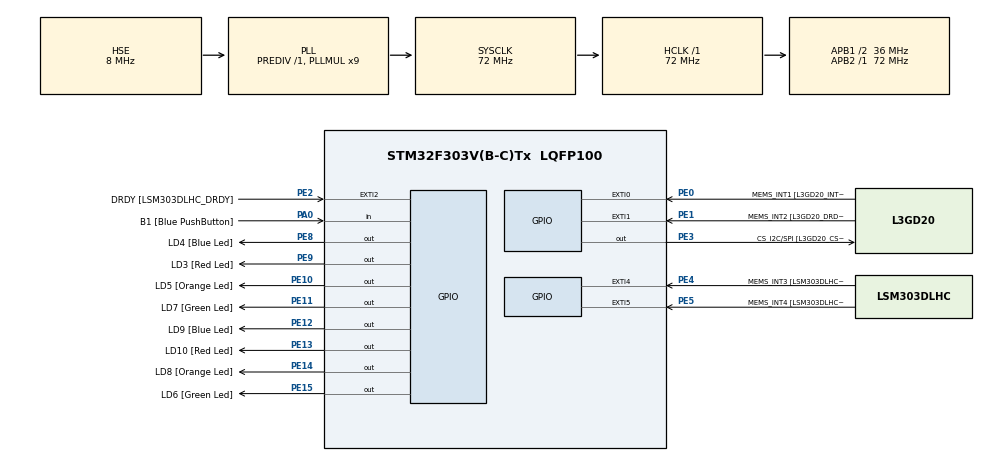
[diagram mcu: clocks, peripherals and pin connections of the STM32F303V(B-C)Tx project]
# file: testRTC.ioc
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Mcu.Family=STM32F3
Mcu.Name=STM32F303V(B-C)Tx
Mcu.Package=LQFP100
NVIC.PriorityGroup=NVIC_PRIORITYGROUP_0
PA0.GPIO_Label=B1 [Blue PushButton]
PA0.GPIO_Mode=GPIO_MODE_INPUT
PA0.GPIO_PuPd=GPIO_NOPULL
PA0.Signal=GPIO_Input
PA11.GPIO_Label=DM
PA11.Signal=USB_DM
PA12.GPIO_Label=DP
PA12.Signal=USB_DP
PA13.GPIO_Label=SWDIO
PA13.Signal=SYS_JTMS-SWDIO
PA14.GPIO_Label=SWCLK
PA14.Signal=SYS_JTCK-SWCLK
PA5.GPIO_Label=SPI1_SCK [L3GD20_SCL/SPC]
PA5.GPIO_Mode=GPIO_MODE_AF_PP
PA5.GPIO_PuPd=GPIO_NOPULL
PA5.GPIO_Speed=GPIO_SPEED_FREQ_LOW
PA5.Signal=SPI1_SCK
PA6.GPIO_Label=SPI1_MISO [L3GD20_SA0/SDO]
PA6.GPIO_Mode=GPIO_MODE_AF_PP
PA6.GPIO_PuPd=GPIO_NOPULL
PA6.GPIO_Speed=GPIO_SPEED_FREQ_LOW
PA6.Signal=SPI1_MISO
PA7.GPIO_Label=SPI1_MISO [L3GD20_SDA/SDI/SDO]
PA7.GPIO_Mode=GPIO_MODE_AF_PP
PA7.GPIO_PuPd=GPIO_NOPULL
PA7.GPIO_Speed=GPIO_SPEED_FREQ_LOW
PA7.Signal=SPI1_MOSI
PB3.GPIO_Label=SWO
PB3.Signal=SYS_JTDO-TRACESWO
PB6.GPIO_FM6=__NULL
PB6.GPIO_Label=I2C1_SCL [LSM303DLHC_SCL]
PB6.GPIO_Mode=GPIO_MODE_AF_OD
PB6.GPIO_PuPd=GPIO_NOPULL
PB6.GPIO_Speed=GPIO_SPEED_FREQ_LOW
PB6.Signal=I2C1_SCL
PB7.GPIO_FM7=__NULL
PB7.GPIO_Label=I2C1_SDA [LSM303DLHC_SDA]
PB7.GPIO_Mode=GPIO_MODE_AF_OD
PB7.GPIO_PuPd=GPIO_NOPULL
PB7.GPIO_Speed=GPIO_SPEED_FREQ_LOW
PB7.Signal=I2C1_SDA
PC14-OSC32_IN.GPIO_Label=OSC32_IN
PC14-OSC32_IN.Signal=RCC_OSC32_IN
PC15-OSC32_OUT.GPIO_Label=OSC32_OUT
PC15-OSC32_OUT.Signal=RCC_OSC32_OUT
PE0.GPIO_Label=MEMS_INT1 [L3GD20_INT1]
PE0.GPIO_ModeDefaultEXTI=GPIO_MODE_EVT_RISING
PE0.GPIO_PuPd=GPIO_NOPULL
PE0.Signal=GPXTI0
PE1.GPIO_Label=MEMS_INT2 [L3GD20_DRDY/INT2]
PE1.GPIO_ModeDefaultEXTI=GPIO_MODE_EVT_RISING
PE1.GPIO_PuPd=GPIO_NOPULL
PE1.Signal=GPXTI1
PE10.GPIO_Label=LD5 [Orange Led]
PE10.GPIO_ModeDefaultOutputPP=GPIO_MODE_OUTPUT_PP
PE10.GPIO_PuPd=GPIO_NOPULL
PE10.GPIO_Speed=GPIO_SPEED_FREQ_LOW
PE10.Signal=GPIO_Output
PE11.GPIO_Label=LD7 [Green Led]
PE11.GPIO_ModeDefaultOutputPP=GPIO_MODE_OUTPUT_PP
PE11.GPIO_PuPd=GPIO_NOPULL
PE11.GPIO_Speed=GPIO_SPEED_FREQ_LOW
PE11.Signal=GPIO_Output
PE12.GPIO_Label=LD9 [Blue Led]
PE12.GPIO_ModeDefaultOutputPP=GPIO_MODE_OUTPUT_PP
PE12.GPIO_PuPd=GPIO_NOPULL
PE12.GPIO_Speed=GPIO_SPEED_FREQ_LOW
PE12.Signal=GPIO_Output
PE13.GPIO_Label=LD10 [Red Led]
PE13.GPIO_ModeDefaultOutputPP=GPIO_MODE_OUTPUT_PP
PE13.GPIO_PuPd=GPIO_NOPULL
PE13.GPIO_Speed=GPIO_SPEED_FREQ_LOW
PE13.Signal=GPIO_Output
PE14.GPIO_Label=LD8 [Orange Led]
PE14.GPIO_ModeDefaultOutputPP=GPIO_MODE_OUTPUT_PP
PE14.GPIO_PuPd=GPIO_NOPULL
PE14.GPIO_Speed=GPIO_SPEED_FREQ_LOW
PE14.Signal=GPIO_Output
PE15.GPIO_Label=LD6 [Green Led]
PE15.GPIO_ModeDefaultOutputPP=GPIO_MODE_OUTPUT_PP
PE15.GPIO_PuPd=GPIO_NOPULL
PE15.GPIO_Speed=GPIO_SPEED_FREQ_LOW
PE15.Signal=GPIO_Output
PE2.GPIO_Label=DRDY [LSM303DLHC_DRDY]
PE2.GPIO_ModeDefaultEXTI=GPIO_MODE_EVT_RISING
PE2.GPIO_PuPd=GPIO_NOPULL
PE2.Signal=GPXTI2
PE3.GPIO_Label=CS_I2C/SPI [L3GD20_CS_I2C/SPI]
PE3.GPIO_ModeDefaultOutputPP=GPIO_MODE_OUTPUT_PP
PE3.GPIO_PuPd=GPIO_NOPULL
PE3.GPIO_Speed=GPIO_SPEED_FREQ_LOW
PE3.Signal=GPIO_Output
PE4.GPIO_Label=MEMS_INT3 [LSM303DLHC_INT1]
PE4.GPIO_ModeDefaultEXTI=GPIO_MODE_EVT_RISING
PE4.GPIO_PuPd=GPIO_NOPULL
PE4.Signal=GPXTI4
PE5.GPIO_Label=MEMS_INT4 [LSM303DLHC_INT2]
PE5.GPIO_ModeDefaultEXTI=GPIO_MODE_EVT_RISING
PE5.GPIO_PuPd=GPIO_NOPULL
PE5.Signal=GPXTI5
PE8.GPIO_Label=LD4 [Blue Led]
PE8.GPIO_ModeDefaultOutputPP=GPIO_MODE_OUTPUT_PP
PE8.GPIO_PuPd=GPIO_NOPULL
PE8.GPIO_Speed=GPIO_SPEED_FREQ_LOW
PE8.Signal=GPIO_Output
PE9.GPIO_Label=LD3 [Red Led]
PE9.GPIO_ModeDefaultOutputPP=GPIO_MODE_OUTPUT_PP
PE9.GPIO_PuPd=GPIO_NOPULL
PE9.GPIO_Speed=GPIO_SPEED_FREQ_LOW
PE9.Signal=GPIO_Output
PF0-OSC_IN.GPIO_Label=OSC_IN
PF0-OSC_IN.Mode=HSE-External-Oscillator
PF0-OSC_IN.Signal=RCC_OSC_IN
PF1-OSC_OUT.GPIO_Label=OSC_OUT
PF1-OSC_OUT.Mode=HSE-External-Oscillator
PF1-OSC_OUT.Signal=RCC_OSC_OUT
ProjectManager.HeapSize=0x200
ProjectManager.StackSize=0x400
ProjectManager.TargetToolchain=EWARM
RCC.AHBFreq_Value=72000000
RCC.APB1CLKDivider=RCC_HCLK_DIV2
RCC.APB1Freq_Value=36000000
RCC.APB1TimFreq_Value=72000000
RCC.APB2Freq_Value=72000000
RCC.APB2TimFreq_Value=72000000
RCC.CortexFreq_Value=72000000
RCC.HCLKFreq_Value=72000000
RCC.HSE_VALUE=8000000
RCC.HSIState=RCC_HSI_ON
RCC.HSI_VALUE=8000000
RCC.LSE_VALUE=32768
RCC.PLLMUL=RCC_PLL_MUL9
RCC.PLLSourceVirtual=RCC_PLLSOURCE_HSE
RCC.SYSCLKFreq_VALUE=72000000
RCC.SYSCLKSourceVirtual=RCC_SYSCLKSOURCE_PLLCLK
RCC.USBFreq_Value=72000000
VP_RTC_VS_RTC_Activate.Mode=RTC_Enabled
VP_RTC_VS_RTC_Calendar.Mode=RTC_Calendar
board=STM32F3DISCOVERY

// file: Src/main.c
/**
  ******************************************************************************
  * File Name          : main.c
  * Description        : Main program body
  ******************************************************************************
  *
  * COPYRIGHT(c) 2017 STMicroelectronics
  *
  * Redistribution and use in source and binary forms, with or without modification,
  * are permitted provided that the following conditions are met:
  *   1. Redistributions of source code must retain the above copyright notice,
  *      this list of conditions and the following disclaimer.
  *   2. Redistributions in binary form must reproduce the above copyright notice,
  *      this list of conditions and the following disclaimer in the documentation
  *      and/or other materials provided with the distribution.
  *   3. Neither the name of STMicroelectronics nor the names of its contributors
  *      may be used to endorse or promote products derived from this software
  *      without specific prior written permission.
  *
  * THIS SOFTWARE IS PROVIDED BY THE COPYRIGHT HOLDERS AND CONTRIBUTORS "AS IS"
  * AND ANY EXPRESS OR IMPLIED WARRANTIES, INCLUDING, BUT NOT LIMITED TO, THE
  * IMPLIED WARRANTIES OF MERCHANTABILITY AND FITNESS FOR A PARTICULAR PURPOSE ARE
  * DISCLAIMED. IN NO EVENT SHALL THE COPYRIGHT HOLDER OR CONTRIBUTORS BE LIABLE
  * FOR ANY DIRECT, INDIRECT, INCIDENTAL, SPECIAL, EXEMPLARY, OR CONSEQUENTIAL
  * DAMAGES (INCLUDING, BUT NOT LIMITED TO, PROCUREMENT OF SUBSTITUTE GOODS OR
  * SERVICES; LOSS OF USE, DATA, OR PROFITS; OR BUSINESS INTERRUPTION) HOWEVER
  * CAUSED AND ON ANY THEORY OF LIABILITY, WHETHER IN CONTRACT, STRICT LIABILITY,
  * OR TORT (INCLUDING NEGLIGENCE OR OTHERWISE) ARISING IN ANY WAY OUT OF THE USE
  * OF THIS SOFTWARE, EVEN IF ADVISED OF THE POSSIBILITY OF SUCH DAMAGE.
  *
  ******************************************************************************
  */
#include "main.h"
#include "stm32f3xx_hal.h"
#include "rtc.h"
#include "gpio.h"
#include "stm32f3_discovery.h"

/* USER CODE BEGIN Includes */
RTC_HandleTypeDef RtcHandle;

/* Buffers used for displaying Time and Date */
uint8_t aShowTime[50] = {0};
uint8_t aShowDate[50] = {0};
/* USER CODE END Includes */

/* USER CODE BEGIN PV */
/* Private variables ---------------------------------------------------------*/

/* USER CODE END PV */

void SystemClock_Config(void);
void Error_Handler(void);

/* USER CODE BEGIN PFP */
/* Private function prototypes -----------------------------------------------*/

/* USER CODE END PFP */

/* USER CODE BEGIN 0 */
static void RTC_CalendarConfig(void)
{
  RTC_DateTypeDef sdatestructure;
  RTC_TimeTypeDef stimestructure;

  /*##-1- Configure the Date #################################################*/
  /* Set Date: Tuesday February 18th 2014 */
  sdatestructure.Year = 0x14;
  sdatestructure.Month = RTC_MONTH_FEBRUARY;
  sdatestructure.Date = 0x18;
  sdatestructure.WeekDay = RTC_WEEKDAY_TUESDAY;

  if(HAL_RTC_SetDate(&RtcHandle,&sdatestructure,RTC_FORMAT_BCD) != HAL_OK)
  {
    /* Initialization Error */
    Error_Handler();
  }

  /*##-2- Configure the Time #################################################*/
  /* Set Time: 02:00:00 */
  stimestructure.Hours = 0x02;
  stimestructure.Minutes = 0x00;
  stimestructure.Seconds = 0x00;
  stimestructure.TimeFormat = RTC_HOURFORMAT12_AM;
  stimestructure.DayLightSaving = RTC_DAYLIGHTSAVING_NONE ;
  stimestructure.StoreOperation = RTC_STOREOPERATION_RESET;

  if (HAL_RTC_SetTime(&RtcHandle, &stimestructure, RTC_FORMAT_BCD) != HAL_OK)
  {
    /* Initialization Error */
    Error_Handler();
  }

  /*##-3- Writes a data in a RTC Backup data Register1 #######################*/
  HAL_RTCEx_BKUPWrite(&RtcHandle, RTC_BKP_DR1, 0x32F2);
}

/**
  * @brief  Display the current time and date.
  * @param  showtime : pointer to buffer
  * @param  showdate : pointer to buffer
  * @retval None
  */
static void RTC_CalendarShow(uint8_t *showtime, uint8_t *showdate)
{
  RTC_DateTypeDef sdatestructureget;
  RTC_TimeTypeDef stimestructureget;

  /* Get the RTC current Time */
  HAL_RTC_GetTime(&RtcHandle, &stimestructureget, RTC_FORMAT_BIN);
  /* Get the RTC current Date */
  HAL_RTC_GetDate(&RtcHandle, &sdatestructureget, RTC_FORMAT_BIN);
  /* Display time Format : hh:mm:ss */
  sprintf((char *)showtime, "%2d:%2d:%2d", stimestructureget.Hours, stimestructureget.Minutes, stimestructureget.Seconds);
  /* Display date Format : mm-dd-yy */
  sprintf((char *)showdate, "%2d-%2d-%2d", sdatestructureget.Month, sdatestructureget.Date, 2000 + sdatestructureget.Year);
   printf("Time: %2d:%2d:%2d\n", stimestructureget.Hours, stimestructureget.Minutes, stimestructureget.Seconds);
   printf("Date: %2d-%2d-%2d\n\n",  sdatestructureget.Date,sdatestructureget.Month, 2000 + sdatestructureget.Year);

}
/* USER CODE END 0 */

int main(void)
{

  /* MCU Configuration----------------------------------------------------------*/

  /* Reset of all peripherals, Initializes the Flash interface and the Systick. */
  HAL_Init();

  /* Configure the system clock */
  SystemClock_Config();

  /* Initialize all configured peripherals */
  MX_GPIO_Init();
  MX_RTC_Init();

  /* USER CODE BEGIN 2 */
 BSP_LED_Init(LED6);
  BSP_LED_Init(LED4);
  BSP_LED_Init(LED3);
  BSP_LED_Init(LED5);
  /* USER CODE END 2 */
  /*##-1- Configure the RTC peripheral #######################################*/
  /* Configure RTC prescaler and RTC data registers */
  /* RTC configured as follows:
      - Hour Format    = Format 24
      - Asynch Prediv  = Value according to source clock
      - Synch Prediv   = Value according to source clock
      - OutPut         = Output Disable
      - OutPutPolarity = High Polarity
      - OutPutType     = Open Drain */
  RtcHandle.Instance = RTC;
  RtcHandle.Init.HourFormat = RTC_HOURFORMAT_24;
 // RtcHandle.Init.AsynchPrediv = RTC_ASYNCH_PREDIV;
  //RtcHandle.Init.SynchPrediv = RTC_SYNCH_PREDIV;
  RtcHandle.Init.OutPut = RTC_OUTPUT_DISABLE;
  RtcHandle.Init.OutPutPolarity = RTC_OUTPUT_POLARITY_HIGH;
  RtcHandle.Init.OutPutType = RTC_OUTPUT_TYPE_OPENDRAIN;

  if (HAL_RTC_Init(&RtcHandle) != HAL_OK)
  {
    /* Initialization Error */
    Error_Handler();
  }

  /* Turn on LED6 */
  BSP_LED_On(LED6);

  /*##-2- Check if Data stored in BackUp register1: No Need to reconfigure RTC#*/
  /* Read the Back Up Register 1 Data */
  if (HAL_RTCEx_BKUPRead(&RtcHandle, RTC_BKP_DR1) != 0x32F2)
  {
    /* Configure RTC Calendar */
    RTC_CalendarConfig();
  }
  else
  {
    /* Check if the Power On Reset flag is set */
    if (__HAL_RCC_GET_FLAG(RCC_FLAG_PORRST) != RESET)
    {
      /* Turn on LED4: Power on reset occurred */
      BSP_LED_On(LED4);
    }
    /* Check if Pin Reset flag is set */
    if (__HAL_RCC_GET_FLAG(RCC_FLAG_PINRST) != RESET)
    {
      /* Turn on LED5: External reset occurred */
      BSP_LED_On(LED5);
    }
    /* Clear source Reset Flag */
    __HAL_RCC_CLEAR_RESET_FLAGS();
  }

  /* Infinite loop */
  while (1)
  {
      RTC_CalendarShow(aShowTime, aShowDate);

  }

}

/** System Clock Configuration
*/
void SystemClock_Config(void)
{

  RCC_OscInitTypeDef RCC_OscInitStruct;
  RCC_ClkInitTypeDef RCC_ClkInitStruct;
  RCC_PeriphCLKInitTypeDef PeriphClkInit;

    /**Initializes the CPU, AHB and APB busses clocks
    */
  RCC_OscInitStruct.OscillatorType = RCC_OSCILLATORTYPE_LSI|RCC_OSCILLATORTYPE_HSE;
  RCC_OscInitStruct.HSEState = RCC_HSE_ON;
  RCC_OscInitStruct.HSEPredivValue = RCC_HSE_PREDIV_DIV1;
  RCC_OscInitStruct.HSIState = RCC_HSI_ON;
  RCC_OscInitStruct.LSIState = RCC_LSI_ON;
  RCC_OscInitStruct.PLL.PLLState = RCC_PLL_ON;
  RCC_OscInitStruct.PLL.PLLSource = RCC_PLLSOURCE_HSE;
  RCC_OscInitStruct.PLL.PLLMUL = RCC_PLL_MUL9;
  if (HAL_RCC_OscConfig(&RCC_OscInitStruct) != HAL_OK)
  {
    Error_Handler();
  }

    /**Initializes the CPU, AHB and APB busses clocks
    */
  RCC_ClkInitStruct.ClockType = RCC_CLOCKTYPE_HCLK|RCC_CLOCKTYPE_SYSCLK
                              |RCC_CLOCKTYPE_PCLK1|RCC_CLOCKTYPE_PCLK2;
  RCC_ClkInitStruct.SYSCLKSource = RCC_SYSCLKSOURCE_PLLCLK;
  RCC_ClkInitStruct.AHBCLKDivider = RCC_SYSCLK_DIV1;
  RCC_ClkInitStruct.APB1CLKDivider = RCC_HCLK_DIV2;
  RCC_ClkInitStruct.APB2CLKDivider = RCC_HCLK_DIV1;

  if (HAL_RCC_ClockConfig(&RCC_ClkInitStruct, FLASH_LATENCY_2) != HAL_OK)
  {
    Error_Handler();
  }

  PeriphClkInit.PeriphClockSelection = RCC_PERIPHCLK_RTC;
  PeriphClkInit.RTCClockSelection = RCC_RTCCLKSOURCE_LSI;
  if (HAL_RCCEx_PeriphCLKConfig(&PeriphClkInit) != HAL_OK)
  {
    Error_Handler();
  }

    /**Configure the Systick interrupt time
    */
  HAL_SYSTICK_Config(HAL_RCC_GetHCLKFreq()/1000);

    /**Configure the Systick
    */
  HAL_SYSTICK_CLKSourceConfig(SYSTICK_CLKSOURCE_HCLK);

  /* SysTick_IRQn interrupt configuration */
  HAL_NVIC_SetPriority(SysTick_IRQn, 0, 0);
}

void Error_Handler(void)
{
  while(1)
  {
  }
}

/************************ (C) COPYRIGHT STMicroelectronics *****END OF FILE****/
